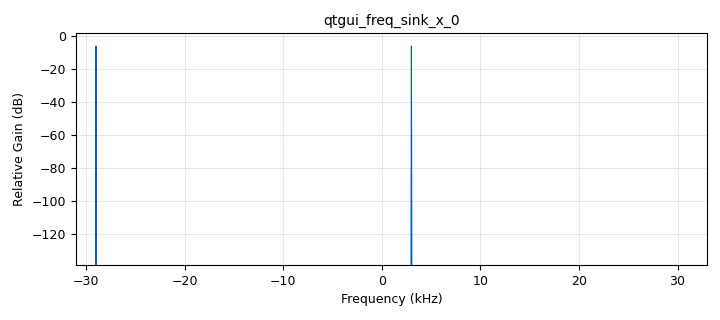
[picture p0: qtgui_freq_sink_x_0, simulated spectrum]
options:
  parameters:
    author: aruncs
    generate_options: qt_gui
    id: upconversionAndDownConversion
    output_language: python
    title: upconversionAndDownConversion
  states: {}

blocks:
- name: freq
  id: variable
  parameters:
    value: 1e3
  states: {}
- name: samp_rate
  id: variable
  parameters:
    value: int(32e3)
  states: {}
- name: analog_sig_source_x_0
  id: analog_sig_source_x
  parameters:
    amp: '1'
    freq: 1e3
    offset: '0'
    phase: '0'
    samp_rate: samp_rate
    type: complex
    waveform: analog.GR_COS_WAVE
  states: {}
- name: blocks_multiply_xx_0
  id: blocks_multiply_xx
  parameters:
    type: complex
  states: {}
- name: blocks_vector_source_x_0
  id: blocks_vector_source_x
  parameters:
    repeat: 'True'
    type: complex
    vector: (1,0)
  states: {}
- name: qtgui_freq_sink_x_0
  id: qtgui_freq_sink_x
  parameters:
    autoscale: 'True'
    bw: samp_rate*2
    fc: 1e3
    fftsize: '1024'
    type: complex
    wintype: window.WIN_RECTANGULAR
  states: {}

connections:
- [analog_sig_source_x_0, '0', blocks_multiply_xx_0, '1']
- [blocks_multiply_xx_0, '0', qtgui_freq_sink_x_0, '0']
- [blocks_vector_source_x_0, '0', blocks_multiply_xx_0, '0']

metadata:
  file_format: 1
  grc_version: 3.10.11.0
